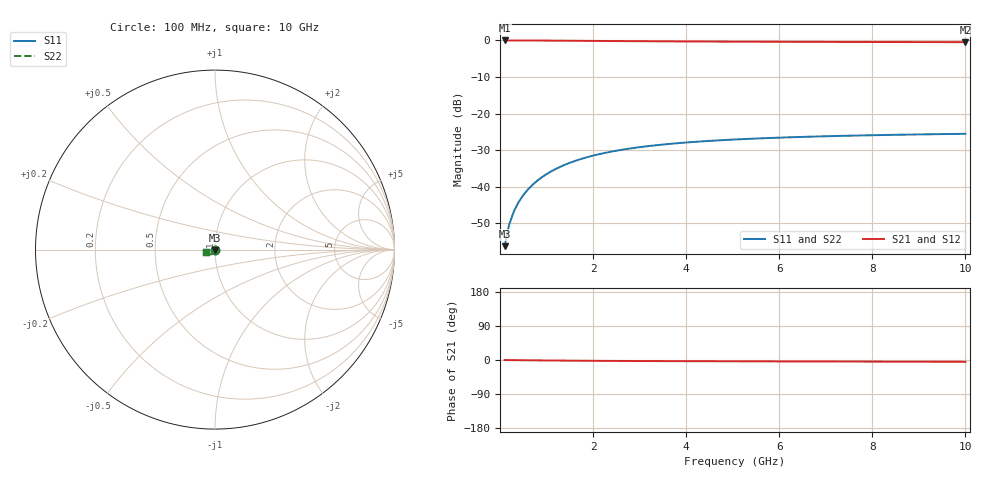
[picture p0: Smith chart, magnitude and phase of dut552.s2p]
! Touchstone file exported from HFSS 2024.1.0
!  File:  C:/UserFiles/LocalFiles/RDL_TSV_Batchsim/temp_TSV1_552_1779706419.aedt
!  Generated:  06:58:38 PM May 25, 2026
!  Design:  TSV1
!  Project:  temp_TSV1_552_1779706419
!  Setup:  Setup1
!  Solution:  Sweep
! Variables:
!  dtsv = 13.74um
!  hbump = 3um
!  htsv = 72.06um
!  lrdl = 252.1521522um
!  p = 40
!  p1 = 50.63um
!  t = 500um
!  trdl = 3um
!  wrdl = 24.89489489um
# GHz S MA R 50.000000
! Terminal data exported
! Port[1] = TSV22_T1
! Port[2] = TSV22_T2
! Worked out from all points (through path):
!   100 points, 100 MHz to 10 GHz, reference 50 ohm
!   highest |S21| = 0.00 dB at 100 MHz (marker M1); lowest = -0.5 dB at 10 GHz (marker M2)
!   lowest |S11| = -56.2 dB at 100 MHz (marker M3), VSWR 1.00, Z = 50 - j0.154 ohm
!   |S11| at or under -10 dB: start of sweep to end of sweep
!   |S22| runs from -56.2 to -25.5 dB; largest |S21 - S12| = 4.2e-15
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0.1  0.001545 -88.8  0.9999 -0.1  0.9999 -0.1  0.001545 -88.8
! Gamma 0 0 0 0
! Port Impedance 50 0 50 0
0.2  0.003089 -91.8  0.9997 -0.3  0.9997 -0.3  0.003089 -91.8
0.3  0.00463 -94.0  0.9995 -0.4  0.9995 -0.4  0.00463 -94.0
0.4  0.006164 -95.9  0.9991 -0.5  0.9991 -0.5  0.006164 -95.9
0.5  0.007682 -97.8  0.9987 -0.6  0.9987 -0.6  0.007682 -97.8
0.6  0.009181 -99.6  0.9982 -0.8  0.9982 -0.8  0.009181 -99.6
0.7  0.01066 -101.4  0.9976 -0.9  0.9976 -0.9  0.01066 -101.4
0.8  0.0121 -103.1  0.997 -1.0  0.997 -1.0  0.0121 -103.1
0.9  0.01352 -104.8  0.9963 -1.1  0.9963 -1.1  0.01352 -104.8
1.1  0.01625 -108.1  0.9947 -1.3  0.9947 -1.3  0.01625 -108.1
1.4  0.02007 -112.8  0.992 -1.6  0.992 -1.6  0.02007 -112.8
1.6  0.02243 -115.7  0.9901 -1.8  0.9901 -1.8  0.02243 -115.7
1.8  0.02462 -118.4  0.9881 -2.0  0.9881 -2.0  0.02462 -118.4
2.1  0.02762 -122.3  0.9852 -2.2  0.9852 -2.2  0.02762 -122.3
2.5  0.03112 -126.9  0.9813 -2.4  0.9813 -2.4  0.03112 -126.9
2.9  0.03411 -131.1  0.9776 -2.6  0.9776 -2.6  0.03411 -131.1
3.4  0.03725 -135.6  0.9735 -2.9  0.9735 -2.9  0.03725 -135.6
4.2  0.04119 -141.7  0.9678 -3.2  0.9678 -3.2  0.04119 -141.7
5.1  0.04449 -147.2  0.9627 -3.4  0.9627 -3.4  0.04449 -147.2
6.7  0.0485 -154.7  0.9561 -3.9  0.9561 -3.9  0.0485 -154.7
8.4  0.05124 -160.8  0.9514 -4.3  0.9514 -4.3  0.05124 -160.8
10  0.053 -165.3  0.9483 -4.8  0.9483 -4.8  0.053 -165.3
